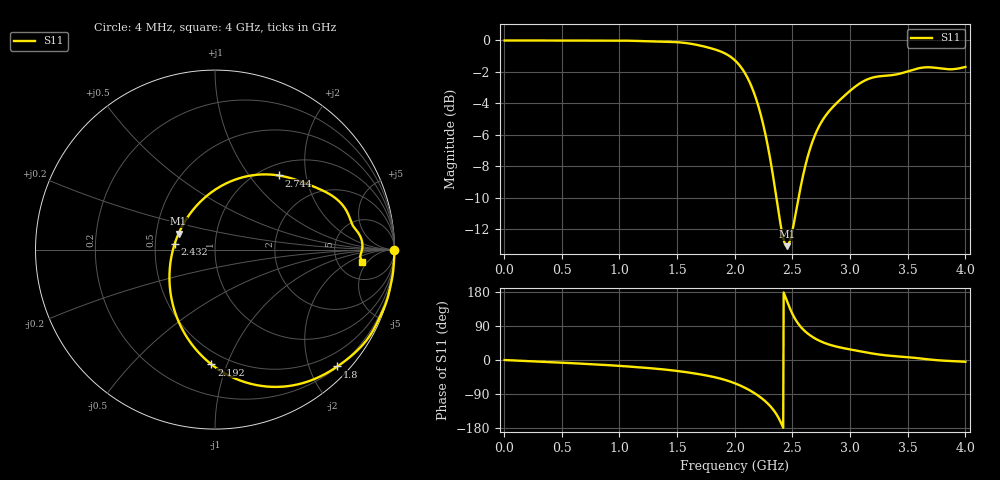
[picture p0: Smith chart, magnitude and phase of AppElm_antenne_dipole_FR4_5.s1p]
! TOUCHSTONE file generated by CST MICROWAVE STUDIO
! Date and time: Thu May 12 18:27:56 2022
! Project name: AppElm_antenne_dipole_FR4.cst
! Parameters = {L=38.8; e=0.035; f=2.45e+09; h=1.6; i=0.8; l1=4; lambda=122.449; ls=28.5; wl=1.7; ws=80}
! Header version: 2018
! Port assignment regex: !\s*Touchstone port\s*([0-9]+)\s*=\s*(CST MWS port|CST DS port)\s*([0-9]+|Zmin|Zmax)\s*\(\"(.*)\"\)(\s*mode\s*([0-9]+))?.*
! Touchstone port assignment:
! Touchstone port 1 = CST MWS port 1 ("")
# GHz S MA R 50
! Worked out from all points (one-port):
!   1000 points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, 4 MHz to 4 GHz, reference 50 ohm
!   lowest |S11| = -13.1 dB at 2.452 GHz (marker M1), VSWR 1.57, Z = 32.7 + j6.1 ohm
!   |S11| at or under -10 dB: 2.361 GHz to 2.553 GHz (192.1 MHz wide, 7.82 % of centre)
!   S11 on the Smith chart (normalised r, x): 4 MHz: open; 1.8 GHz: 0.21, -2.48; 2.192 GHz: 0.41, -0.88; 2.432 GHz: 0.63, +0.04; 2.744 GHz: 1.20, +1.41; 4 GHz: 8.80, -3.66
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0.004  0.9999 -0.1
0.504  1 -7.1
1.004  0.9989 -15.6
1.504  0.987 -29.0
1.656  0.9707 -35.7
1.8  0.9428 -43.7
1.908  0.912 -51.8
2.004  0.8627 -61.8
2.104  0.7687 -75.8
2.192  0.64 -91.7
2.26  0.5143 -107.6
2.32  0.3943 -126.0
2.376  0.2909 -150.7
2.432  0.2271 172.1
2.452  0.2217 156.4
2.504  0.2526 119.2
2.56  0.3259 91.9
2.616  0.4051 74.1
2.676  0.4792 60.5
2.744  0.5442 49.4
2.848  0.613 38.0
3.004  0.6937 27.7
3.196  0.7622 17.0
3.324  0.7732 11.8
3.504  0.7983 7.4
3.64  0.8206 3.0
3.764  0.8165 -0.8
4  0.8236 -4.7
